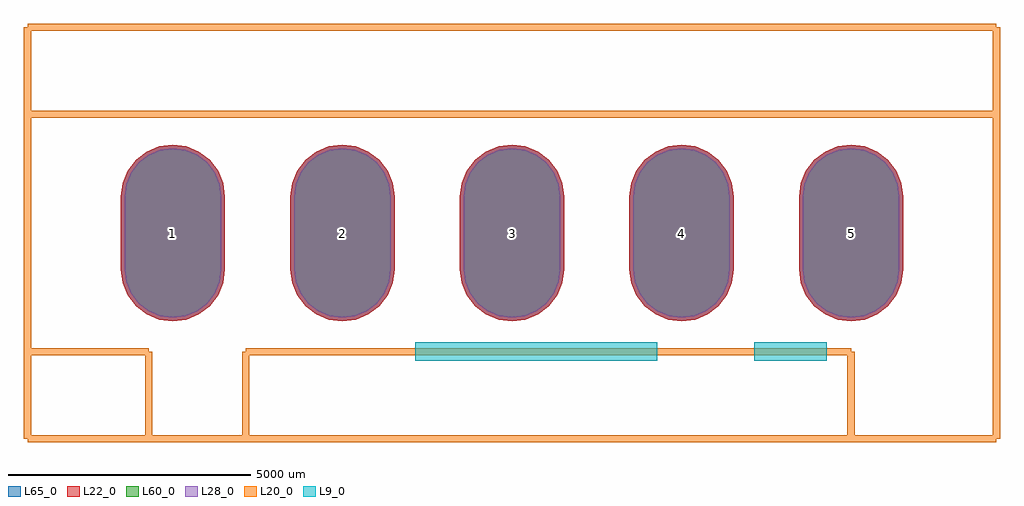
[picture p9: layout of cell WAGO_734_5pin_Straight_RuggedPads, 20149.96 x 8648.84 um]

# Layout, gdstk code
import gdstk
lib = gdstk.Library(unit=1e-6, precision=1e-09)
def P(c, l, *ps):  # polygons
    for p in ps: c.add(gdstk.Polygon(p, *l))
L9_0 = (9, 0)
L20_0 = (20, 0)
L22_0 = (22, 0)
L28_0 = (28, 0)
L60_0 = (60, 0)
L65_0 = (65, 0)

wago_734_5pin_straight_r = lib.new_cell('WAGO_734_5pin_Straight_RuggedPads')
P(wago_734_5pin_straight_r, L22_0, [(7000.24,-1825.06),(7278.338,-1788.448),(7537.485,-1681.106),(7760.019,-1510.349),(7930.776,-1287.815),(8038.118,-1028.668),(8074.73,-750.57),(8074.73,750.57),(8038.118,1028.668),(7930.776,1287.815),(7760.019,1510.349),(7537.485,1681.106),(7278.338,1788.448),(7000.24,1825.06),(6722.142,1788.448),(6462.995,1681.106),(6240.461,1510.349),(6069.704,1287.815),(5962.362,1028.668),(5925.75,750.57),(5925.75,-750.57),(5962.362,-1028.668),(6069.704,-1287.815),(6240.461,-1510.349),(6462.995,-1681.106),(6722.142,-1788.448)],
  [(-7000.24,-1825.06),(-6722.142,-1788.448),(-6462.995,-1681.106),(-6240.461,-1510.349),(-6069.704,-1287.815),(-5962.362,-1028.668),(-5925.75,-750.57),(-5925.75,750.57),(-5962.362,1028.668),(-6069.704,1287.815),(-6240.461,1510.349),(-6462.995,1681.106),(-6722.142,1788.448),(-7000.24,1825.06),(-7278.338,1788.448),(-7537.485,1681.106),(-7760.019,1510.349),(-7930.776,1287.815),(-8038.118,1028.668),(-8074.73,750.57),(-8074.73,-750.57),(-8038.118,-1028.668),(-7930.776,-1287.815),(-7760.019,-1510.349),(-7537.485,-1681.106),(-7278.338,-1788.448)],
  [(3500.12,-1825.06),(3778.218,-1788.448),(4037.365,-1681.106),(4259.899,-1510.349),(4430.656,-1287.815),(4537.998,-1028.668),(4574.61,-750.57),(4574.61,750.57),(4537.998,1028.668),(4430.656,1287.815),(4259.899,1510.349),(4037.365,1681.106),(3778.218,1788.448),(3500.12,1825.06),(3222.022,1788.448),(2962.875,1681.106),(2740.341,1510.349),(2569.584,1287.815),(2462.242,1028.668),(2425.63,750.57),(2425.63,-750.57),(2462.242,-1028.668),(2569.584,-1287.815),(2740.341,-1510.349),(2962.875,-1681.106),(3222.022,-1788.448)],
  [(-3500.12,-1825.06),(-3222.022,-1788.448),(-2962.875,-1681.106),(-2740.341,-1510.349),(-2569.584,-1287.815),(-2462.242,-1028.668),(-2425.63,-750.57),(-2425.63,750.57),(-2462.242,1028.668),(-2569.584,1287.815),(-2740.341,1510.349),(-2962.875,1681.106),(-3222.022,1788.448),(-3500.12,1825.06),(-3778.218,1788.448),(-4037.365,1681.106),(-4259.899,1510.349),(-4430.656,1287.815),(-4537.998,1028.668),(-4574.61,750.57),(-4574.61,-750.57),(-4537.998,-1028.668),(-4430.656,-1287.815),(-4259.899,-1510.349),(-4037.365,-1681.106),(-3778.218,-1788.448)],
  [(0,-1825.06),(278.098,-1788.448),(537.245,-1681.106),(759.779,-1510.349),(930.536,-1287.815),(1037.878,-1028.668),(1074.49,-750.57),(1074.49,750.57),(1037.878,1028.668),(930.536,1287.815),(759.779,1510.349),(537.245,1681.106),(278.098,1788.448),(0,1825.06),(-278.098,1788.448),(-537.245,1681.106),(-759.779,1510.349),(-930.536,1287.815),(-1037.878,1028.668),(-1074.49,750.57),(-1074.49,-750.57),(-1037.878,-1028.668),(-930.536,-1287.815),(-759.779,-1510.349),(-537.245,-1681.106),(-278.098,-1788.448)])
P(wago_734_5pin_straight_r, L28_0, [(7000.24,-1750.06),(7258.927,-1716.003),(7499.985,-1616.154),(7706.986,-1457.316),(7865.824,-1250.315),(7965.673,-1009.257),(7999.73,-750.57),(7999.73,750.57),(7965.673,1009.257),(7865.824,1250.315),(7706.986,1457.316),(7499.985,1616.154),(7258.927,1716.003),(7000.24,1750.06),(6741.553,1716.003),(6500.495,1616.154),(6293.494,1457.316),(6134.656,1250.315),(6034.807,1009.257),(6000.75,750.57),(6000.75,-750.57),(6034.807,-1009.257),(6134.656,-1250.315),(6293.494,-1457.316),(6500.495,-1616.154),(6741.553,-1716.003)],
  [(-7000.24,-1750.06),(-6741.553,-1716.003),(-6500.495,-1616.154),(-6293.494,-1457.316),(-6134.656,-1250.315),(-6034.807,-1009.257),(-6000.75,-750.57),(-6000.75,750.57),(-6034.807,1009.257),(-6134.656,1250.315),(-6293.494,1457.316),(-6500.495,1616.154),(-6741.553,1716.003),(-7000.24,1750.06),(-7258.927,1716.003),(-7499.985,1616.154),(-7706.986,1457.316),(-7865.824,1250.315),(-7965.673,1009.257),(-7999.73,750.57),(-7999.73,-750.57),(-7965.673,-1009.257),(-7865.824,-1250.315),(-7706.986,-1457.316),(-7499.985,-1616.154),(-7258.927,-1716.003)],
  [(3500.12,-1750.06),(3758.807,-1716.003),(3999.865,-1616.154),(4206.866,-1457.316),(4365.704,-1250.315),(4465.553,-1009.257),(4499.61,-750.57),(4499.61,750.57),(4465.553,1009.257),(4365.704,1250.315),(4206.866,1457.316),(3999.865,1616.154),(3758.807,1716.003),(3500.12,1750.06),(3241.433,1716.003),(3000.375,1616.154),(2793.374,1457.316),(2634.536,1250.315),(2534.687,1009.257),(2500.63,750.57),(2500.63,-750.57),(2534.687,-1009.257),(2634.536,-1250.315),(2793.374,-1457.316),(3000.375,-1616.154),(3241.433,-1716.003)],
  [(-3500.12,-1750.06),(-3241.433,-1716.003),(-3000.375,-1616.154),(-2793.374,-1457.316),(-2634.536,-1250.315),(-2534.687,-1009.257),(-2500.63,-750.57),(-2500.63,750.57),(-2534.687,1009.257),(-2634.536,1250.315),(-2793.374,1457.316),(-3000.375,1616.154),(-3241.433,1716.003),(-3500.12,1750.06),(-3758.807,1716.003),(-3999.865,1616.154),(-4206.866,1457.316),(-4365.704,1250.315),(-4465.553,1009.257),(-4499.61,750.57),(-4499.61,-750.57),(-4465.553,-1009.257),(-4365.704,-1250.315),(-4206.866,-1457.316),(-3999.865,-1616.154),(-3758.807,-1716.003)],
  [(0,-1750.06),(258.687,-1716.003),(499.745,-1616.154),(706.746,-1457.316),(865.584,-1250.315),(965.433,-1009.257),(999.49,-750.57),(999.49,750.57),(965.433,1009.257),(865.584,1250.315),(706.746,1457.316),(499.745,1616.154),(258.687,1716.003),(0,1750.06),(-258.687,1716.003),(-499.745,1616.154),(-706.746,1457.316),(-865.584,1250.315),(-965.433,1009.257),(-999.49,750.57),(-999.49,-750.57),(-965.433,-1009.257),(-865.584,-1250.315),(-706.746,-1457.316),(-499.745,-1616.154),(-258.687,-1716.003)])
P(wago_734_5pin_straight_r, L60_0, [(7000.24,-1750.06),(7258.927,-1716.003),(7499.985,-1616.154),(7706.986,-1457.316),(7865.824,-1250.315),(7965.673,-1009.257),(7999.73,-750.57),(7999.73,750.57),(7965.673,1009.257),(7865.824,1250.315),(7706.986,1457.316),(7499.985,1616.154),(7258.927,1716.003),(7000.24,1750.06),(6741.553,1716.003),(6500.495,1616.154),(6293.494,1457.316),(6134.656,1250.315),(6034.807,1009.257),(6000.75,750.57),(6000.75,-750.57),(6034.807,-1009.257),(6134.656,-1250.315),(6293.494,-1457.316),(6500.495,-1616.154),(6741.553,-1716.003)],
  [(-7000.24,-1750.06),(-6741.553,-1716.003),(-6500.495,-1616.154),(-6293.494,-1457.316),(-6134.656,-1250.315),(-6034.807,-1009.257),(-6000.75,-750.57),(-6000.75,750.57),(-6034.807,1009.257),(-6134.656,1250.315),(-6293.494,1457.316),(-6500.495,1616.154),(-6741.553,1716.003),(-7000.24,1750.06),(-7258.927,1716.003),(-7499.985,1616.154),(-7706.986,1457.316),(-7865.824,1250.315),(-7965.673,1009.257),(-7999.73,750.57),(-7999.73,-750.57),(-7965.673,-1009.257),(-7865.824,-1250.315),(-7706.986,-1457.316),(-7499.985,-1616.154),(-7258.927,-1716.003)],
  [(3500.12,-1750.06),(3758.807,-1716.003),(3999.865,-1616.154),(4206.866,-1457.316),(4365.704,-1250.315),(4465.553,-1009.257),(4499.61,-750.57),(4499.61,750.57),(4465.553,1009.257),(4365.704,1250.315),(4206.866,1457.316),(3999.865,1616.154),(3758.807,1716.003),(3500.12,1750.06),(3241.433,1716.003),(3000.375,1616.154),(2793.374,1457.316),(2634.536,1250.315),(2534.687,1009.257),(2500.63,750.57),(2500.63,-750.57),(2534.687,-1009.257),(2634.536,-1250.315),(2793.374,-1457.316),(3000.375,-1616.154),(3241.433,-1716.003)],
  [(-3500.12,-1750.06),(-3241.433,-1716.003),(-3000.375,-1616.154),(-2793.374,-1457.316),(-2634.536,-1250.315),(-2534.687,-1009.257),(-2500.63,-750.57),(-2500.63,750.57),(-2534.687,1009.257),(-2634.536,1250.315),(-2793.374,1457.316),(-3000.375,1616.154),(-3241.433,1716.003),(-3500.12,1750.06),(-3758.807,1716.003),(-3999.865,1616.154),(-4206.866,1457.316),(-4365.704,1250.315),(-4465.553,1009.257),(-4499.61,750.57),(-4499.61,-750.57),(-4465.553,-1009.257),(-4365.704,-1250.315),(-4206.866,-1457.316),(-3999.865,-1616.154),(-3758.807,-1716.003)],
  [(0,-1750.06),(258.687,-1716.003),(499.745,-1616.154),(706.746,-1457.316),(865.584,-1250.315),(965.433,-1009.257),(999.49,-750.57),(999.49,750.57),(965.433,1009.257),(865.584,1250.315),(706.746,1457.316),(499.745,1616.154),(258.687,1716.003),(0,1750.06),(-258.687,1716.003),(-499.745,1616.154),(-706.746,1457.316),(-865.584,1250.315),(-965.433,1009.257),(-999.49,750.57),(-999.49,-750.57),(-965.433,-1009.257),(-865.584,-1250.315),(-706.746,-1457.316),(-499.745,-1616.154),(-258.687,-1716.003)])
P(wago_734_5pin_straight_r, L65_0, [(7000.24,-1825.06),(7278.338,-1788.448),(7537.485,-1681.106),(7760.019,-1510.349),(7930.776,-1287.815),(8038.118,-1028.668),(8074.73,-750.57),(8074.73,750.57),(8038.118,1028.668),(7930.776,1287.815),(7760.019,1510.349),(7537.485,1681.106),(7278.338,1788.448),(7000.24,1825.06),(6722.142,1788.448),(6462.995,1681.106),(6240.461,1510.349),(6069.704,1287.815),(5962.362,1028.668),(5925.75,750.57),(5925.75,-750.57),(5962.362,-1028.668),(6069.704,-1287.815),(6240.461,-1510.349),(6462.995,-1681.106),(6722.142,-1788.448)],
  [(-7000.24,-1825.06),(-6722.142,-1788.448),(-6462.995,-1681.106),(-6240.461,-1510.349),(-6069.704,-1287.815),(-5962.362,-1028.668),(-5925.75,-750.57),(-5925.75,750.57),(-5962.362,1028.668),(-6069.704,1287.815),(-6240.461,1510.349),(-6462.995,1681.106),(-6722.142,1788.448),(-7000.24,1825.06),(-7278.338,1788.448),(-7537.485,1681.106),(-7760.019,1510.349),(-7930.776,1287.815),(-8038.118,1028.668),(-8074.73,750.57),(-8074.73,-750.57),(-8038.118,-1028.668),(-7930.776,-1287.815),(-7760.019,-1510.349),(-7537.485,-1681.106),(-7278.338,-1788.448)],
  [(3500.12,-1825.06),(3778.218,-1788.448),(4037.365,-1681.106),(4259.899,-1510.349),(4430.656,-1287.815),(4537.998,-1028.668),(4574.61,-750.57),(4574.61,750.57),(4537.998,1028.668),(4430.656,1287.815),(4259.899,1510.349),(4037.365,1681.106),(3778.218,1788.448),(3500.12,1825.06),(3222.022,1788.448),(2962.875,1681.106),(2740.341,1510.349),(2569.584,1287.815),(2462.242,1028.668),(2425.63,750.57),(2425.63,-750.57),(2462.242,-1028.668),(2569.584,-1287.815),(2740.341,-1510.349),(2962.875,-1681.106),(3222.022,-1788.448)],
  [(-3500.12,-1825.06),(-3222.022,-1788.448),(-2962.875,-1681.106),(-2740.341,-1510.349),(-2569.584,-1287.815),(-2462.242,-1028.668),(-2425.63,-750.57),(-2425.63,750.57),(-2462.242,1028.668),(-2569.584,1287.815),(-2740.341,1510.349),(-2962.875,1681.106),(-3222.022,1788.448),(-3500.12,1825.06),(-3778.218,1788.448),(-4037.365,1681.106),(-4259.899,1510.349),(-4430.656,1287.815),(-4537.998,1028.668),(-4574.61,750.57),(-4574.61,-750.57),(-4537.998,-1028.668),(-4430.656,-1287.815),(-4259.899,-1510.349),(-4037.365,-1681.106),(-3778.218,-1788.448)],
  [(0,-1825.06),(278.098,-1788.448),(537.245,-1681.106),(759.779,-1510.349),(930.536,-1287.815),(1037.878,-1028.668),(1074.49,-750.57),(1074.49,750.57),(1037.878,1028.668),(930.536,1287.815),(759.779,1510.349),(537.245,1681.106),(278.098,1788.448),(0,1825.06),(-278.098,1788.448),(-537.245,1681.106),(-759.779,1510.349),(-930.536,1287.815),(-1037.878,1028.668),(-1074.49,750.57),(-1074.49,-750.57),(-1037.878,-1028.668),(-930.536,-1287.815),(-759.779,-1510.349),(-537.245,-1681.106),(-278.098,-1788.448)])
wago_734_5pin_straight_r.add(gdstk.FlexPath([(-1998.98,-2451.1),(2999.74,-2451.1)], 380.998, ends="flush", simple_path=True, layer=9, datatype=0))  # L9_0
wago_734_5pin_straight_r.add(gdstk.FlexPath([(5001.26,-2451.1),(6499.86,-2451.1)], 380.998, ends="flush", simple_path=True, layer=9, datatype=0))  # L9_0
wago_734_5pin_straight_r.add(gdstk.FlexPath([(-9999.98,-4249.42),(0,-4249.42)], 149.998, ends="flush", simple_path=True, layer=20, datatype=0))  # L20_0
wago_734_5pin_straight_r.add(gdstk.FlexPath([(-9999.98,4249.42),(-9999.98,-4249.42)], 149.998, ends="flush", simple_path=True, layer=20, datatype=0))  # L20_0
wago_734_5pin_straight_r.add(gdstk.FlexPath([(9999.98,4249.42),(-9999.98,4249.42)], 149.998, ends="flush", simple_path=True, layer=20, datatype=0))  # L20_0
wago_734_5pin_straight_r.add(gdstk.FlexPath([(9999.98,-4249.42),(9999.98,4249.42)], 149.998, ends="flush", simple_path=True, layer=20, datatype=0))  # L20_0
wago_734_5pin_straight_r.add(gdstk.FlexPath([(0,-4249.42),(9999.98,-4249.42)], 149.998, ends="flush", simple_path=True, layer=20, datatype=0))  # L20_0
wago_734_5pin_straight_r.add(gdstk.FlexPath([(-7500.62,-2451.1),(-7500.62,-4249.42)], 149.998, ends="flush", simple_path=True, layer=20, datatype=0))  # L20_0
wago_734_5pin_straight_r.add(gdstk.FlexPath([(-9999.98,-2451.1),(-7500.62,-2451.1)], 149.998, ends="flush", simple_path=True, layer=20, datatype=0))  # L20_0
wago_734_5pin_straight_r.add(gdstk.FlexPath([(-5499.1,-4249.42),(-5499.1,-2451.1)], 149.998, ends="flush", simple_path=True, layer=20, datatype=0))  # L20_0
wago_734_5pin_straight_r.add(gdstk.FlexPath([(7000.24,-2451.1),(-5499.1,-2451.1)], 149.998, ends="flush", simple_path=True, layer=20, datatype=0))  # L20_0
wago_734_5pin_straight_r.add(gdstk.FlexPath([(7000.24,-4249.42),(7000.24,-2451.1)], 149.998, ends="flush", simple_path=True, layer=20, datatype=0))  # L20_0
wago_734_5pin_straight_r.add(gdstk.FlexPath([(-9999.98,2451.1),(9999.98,2451.1)], 149.998, ends="flush", simple_path=True, layer=20, datatype=0))  # L20_0
wago_734_5pin_straight_r.add(gdstk.Label('5', (7000.24,0), layer=28, texttype=0))
wago_734_5pin_straight_r.add(gdstk.Label('1', (-7000.24,0), layer=28, texttype=0))
wago_734_5pin_straight_r.add(gdstk.Label('4', (3500.12,0), layer=28, texttype=0))
wago_734_5pin_straight_r.add(gdstk.Label('2', (-3500.12,0), layer=28, texttype=0))
wago_734_5pin_straight_r.add(gdstk.Label('3', (0,0), layer=28, texttype=0))
wago_734_5pin_straight_r.add(gdstk.Label('type', (0,-6350), layer=9, texttype=0))
wago_734_5pin_straight_r.add(gdstk.Label('devicename', (0,6350), layer=9, texttype=0))

lib.write_gds('WAGO_734_5pin_Straight_RuggedPads.gds')
